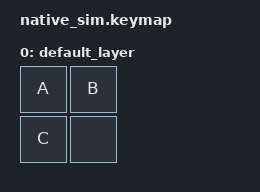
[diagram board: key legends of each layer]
#include <dt-bindings/zmk/keys.h>
#include <behaviors.dtsi>
#include <dt-bindings/zmk/input_mock.h>

/*
    combo 01 timeout 100
    combo 0123 timeout 100
    press 012, wait until timeout runs out
    expected: combo 01 after 100ms, immediately followed by key 2.
 */
/ {
    combos {
        compatible = "zmk,combos";
        combo_two {
            timeout-ms = <100>;
            key-positions = <0 1>;
            bindings = <&kp Y>;
        };

        combo_four {
            timeout-ms = <100>;
            key-positions = <0 1 2 3>;
            bindings = <&kp W>;
        };

    };

    keymap {
        compatible = "zmk,keymap";

        default_layer {
            bindings = <
                &kp A &kp B
                &kp C &none
            >;
        };
    };
};

&mock_input {
    events = <
        /* if you're debugging these, remember that the timer can be triggered between
          events while stepping through code. */
        ZMK_INPUT_MOCK_PRESS(0,0,10)
        ZMK_INPUT_MOCK_PRESS(0,1,10)
        ZMK_INPUT_MOCK_PRESS(0,2,100)
        ZMK_INPUT_MOCK_RELEASE(0,0,10)
        ZMK_INPUT_MOCK_RELEASE(0,1,10)
        ZMK_INPUT_MOCK_RELEASE(0,2,100)
    >;
};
